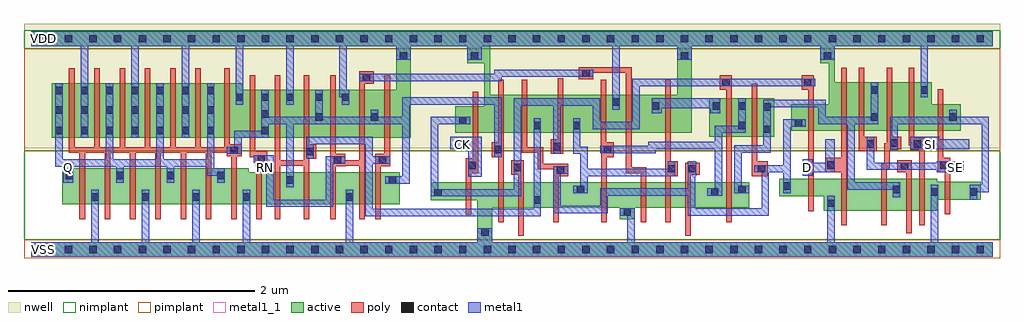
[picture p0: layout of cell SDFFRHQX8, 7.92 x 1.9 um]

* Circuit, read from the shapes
.subckt SDFFRHQX8 CK D Q RN SE SI VDD VSS
M1 VSS n1 Q VSS nfet w=0.295u l=0.045u m=7
M2 n2 RN VSS VSS nfet w=0.26u l=0.045u
M3 n1 n3 n2 VSS nfet w=0.26u l=0.045u
M4 n4 n3 n1 VSS nfet w=0.26u l=0.045u
M5 VSS RN n4 VSS nfet w=0.26u l=0.045u
M6 n5 RN VSS VSS nfet w=0.26u l=0.045u
M7 n1 n3 n5 VSS nfet w=0.26u l=0.045u
M8 VSS CK n6 VSS nfet w=0.145u l=0.045u
M9 n7 n1 VSS VSS nfet w=0.205u l=0.045u
M10 n3 n6 n7 VSS nfet w=0.205u l=0.045u
M11 n8 n9 n3 VSS nfet w=0.205u l=0.045u
M12 VSS n10 n8 VSS nfet w=0.205u l=0.045u
M13 n11 RN VSS VSS nfet w=0.205u l=0.045u
M14 n12 n8 n11 VSS nfet w=0.205u l=0.045u
M15 n10 n9 n12 VSS nfet w=0.205u l=0.045u
M16 n13 n6 n10 VSS nfet w=0.205u l=0.045u
M17 VSS n6 n9 VSS nfet w=0.145u l=0.045u
M18 n14 D VSS VSS nfet w=0.26u l=0.045u
M19 n13 n15 n14 VSS nfet w=0.26u l=0.045u
M20 n16 SE n13 VSS nfet w=0.26u l=0.045u
M21 VSS SI n16 VSS nfet w=0.26u l=0.045u
M22 n15 SE VSS VSS nfet w=0.145u l=0.045u
M23 VDD n1 Q VDD pfet w=0.445u l=0.045u m=7
M24 n1 RN VDD VDD pfet w=0.39u l=0.045u m=3
M25 VDD n3 n1 VDD pfet w=0.39u l=0.045u m=3
M26 VDD CK n6 VDD pfet w=0.215u l=0.045u
M27 n17 n1 VDD VDD pfet w=0.31u l=0.045u
M28 n3 n9 n17 VDD pfet w=0.31u l=0.045u
M29 n8 n6 n3 VDD pfet w=0.31u l=0.045u
M30 VDD n10 n8 VDD pfet w=0.31u l=0.045u
M31 n18 RN VDD VDD pfet w=0.31u l=0.045u
M32 VDD n8 n18 VDD pfet w=0.31u l=0.045u
M33 n10 n6 n18 VDD pfet w=0.31u l=0.045u
M34 n13 n9 n10 VDD pfet w=0.31u l=0.045u
M35 VDD n6 n9 VDD pfet w=0.215u l=0.045u
M36 n19 D VDD VDD pfet w=0.39u l=0.045u
M37 n13 SE n19 VDD pfet w=0.39u l=0.045u
M38 n20 n15 n13 VDD pfet w=0.39u l=0.045u
M39 VDD SI n20 VDD pfet w=0.39u l=0.045u
M40 n15 SE VDD VDD pfet w=0.215u l=0.045u
.ends

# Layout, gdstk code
import gdstk
lib = gdstk.Library(unit=1e-6, precision=5e-10)
def R(c, l, rs):  # rectangles x0, y0, x1, y1
    for r in rs: c.add(gdstk.rectangle(r[:2], r[2:], *l))
def A(c, l, x, y, w, h, nx, ny, dx, dy):  # array of equal rectangles
    R(c, l, [(x+i*dx, y+j*dy, x+i*dx+w, y+j*dy+h) for i in range(nx) for j in range(ny)])
def P(c, l, *ps):  # polygons
    for p in ps: c.add(gdstk.Polygon(p, *l))
active = (1, 0)
nwell = (2, 0)
poly = (3, 0)
nimplant = (4, 0)
pimplant = (5, 0)
contact = (6, 0)
metal1 = (7, 0)
metal1_1 = (7, 1)

sdffrhqx8 = lib.new_cell('SDFFRHQX8')
R(sdffrhqx8, active, [(5.5,0.915,6.03,1.225)])
P(sdffrhqx8, active, [(0,1.77),(7.8,1.77),(7.8,1.65),(6.52,1.65),(6.52,1.355),(7.305,1.355),(7.305,1.18),(7.54,1.18),(7.54,0.965),(6.165,0.965),(6.165,1.18),(6.47,1.18),(6.47,1.51),(6.4,1.51),(6.4,1.65),(5.36,1.65),(5.36,0.945),(3.44,0.945),(3.44,1.16),(3.675,1.16),(3.675,1.51),(3.535,1.51),(3.535,1.65),(3.725,1.65),(3.725,1.255),(5.24,1.255),(5.24,1.65),(3.08,1.65),(3.08,0.905),(0.165,0.905),(0.165,1.35),(1.71,1.35),(1.71,1.295),(2.96,1.295),(2.96,1.65),(0,1.65)],
  [(0.25,0.66),(1.765,0.66),(1.765,0.625),(2.99,0.625),(2.99,0.365),(0.25,0.365)],
  [(3.24,0.545),(5.825,0.545),(5.825,0.34),(4.895,0.34),(4.895,0.245),(4.775,0.245),(4.775,0.34),(3.74,0.34),(3.74,0.06),(7.8,0.06),(7.8,-0.06),(0,-0.06),(0,0.06),(3.62,0.06),(3.62,0.4),(3.24,0.4)],
  [(6.07,0.575),(7.35,0.575),(7.35,0.55),(7.705,0.55),(7.705,0.405),(7.35,0.405),(7.35,0.315),(6.43,0.315),(6.43,0.43),(6.07,0.43)])
R(sdffrhqx8, nwell, [(-0.06,0.82,7.86,1.83)])
P(sdffrhqx8, poly, [(0.305,1.47),(0.35,1.47),(0.35,0.83),(0.51,0.83),(0.51,1.47),(0.555,1.47),(0.555,0.83),(0.715,0.83),(0.715,1.47),(0.76,1.47),(0.76,0.83),(0.92,0.83),(0.92,1.47),(0.965,1.47),(0.965,0.83),(1.125,0.83),(1.125,1.47),(1.17,1.47),(1.17,0.83),(1.33,0.83),(1.33,1.47),(1.375,1.47),(1.375,0.83),(1.565,0.83),(1.565,1.47),(1.61,1.47),(1.61,0.855),(1.705,0.855),(1.705,0.755),(1.665,0.755),(1.665,0.245),(1.62,0.245),(1.62,0.755),(1.585,0.755),(1.585,0.785),(1.46,0.785),(1.46,0.245),(1.415,0.245),(1.415,0.785),(1.255,0.785),(1.255,0.245),(1.21,0.245),(1.21,0.785),(1.05,0.785),(1.05,0.245),(1.005,0.245),(1.005,0.785),(0.845,0.785),(0.845,0.245),(0.8,0.245),(0.8,0.785),(0.64,0.785),(0.64,0.245),(0.595,0.245),(0.595,0.785),(0.435,0.785),(0.435,0.245),(0.39,0.245),(0.39,0.785),(0.305,0.785)],
  [(2.425,1.415),(2.47,1.415),(2.47,0.775),(2.545,0.775),(2.545,0.725),(2.66,0.725),(2.66,1.445),(2.78,1.445),(2.78,1.345),(2.705,1.345),(2.705,0.245),(2.66,0.245),(2.66,0.68),(2.545,0.68),(2.545,0.675),(2.47,0.675),(2.47,0.245),(2.425,0.245)],
  [(1.77,1.415),(1.815,1.415),(1.815,0.795),(1.915,0.795),(1.915,0.675),(1.87,0.675),(1.87,0.245),(1.825,0.245),(1.825,0.675),(1.815,0.675),(1.815,0.75),(1.77,0.75)],
  [(1.975,1.415),(2.02,1.415),(2.02,0.725),(2.21,0.725),(2.21,1.415),(2.255,1.415),(2.255,0.855),(2.31,0.855),(2.31,0.735),(2.255,0.735),(2.255,0.245),(2.21,0.245),(2.21,0.68),(2.02,0.68),(2.02,0.245),(1.975,0.245)],
  [(2.865,1.415),(2.91,1.415),(2.91,0.675),(2.835,0.675),(2.835,0.245),(2.79,0.245),(2.79,0.775),(2.865,0.775)],
  [(4.44,1.48),(4.87,1.48),(4.87,0.665),(4.99,0.665),(4.99,0.22),(4.945,0.22),(4.945,0.62),(4.825,0.62),(4.825,1.435),(4.56,1.435),(4.56,1.38),(4.44,1.38)],
  [(3.58,1.28),(3.625,1.28),(3.625,0.62),(3.57,0.62),(3.57,0.28),(3.525,0.28),(3.525,0.74),(3.58,0.74)],
  [(3.79,1.375),(3.835,1.375),(3.835,0.22),(3.79,0.22),(3.79,0.75),(3.735,0.75),(3.735,0.87),(3.79,0.87)],
  [(3.98,1.375),(4.025,1.375),(4.025,0.83),(4.155,0.83),(4.155,0.695),(4.355,0.695),(4.355,0.595),(4.28,0.595),(4.28,0.22),(4.235,0.22),(4.235,0.65),(4.11,0.65),(4.11,0.785),(3.98,0.785)],
  [(4.27,1.39),(4.315,1.39),(4.315,0.775),(4.215,0.775),(4.215,0.895),(4.27,0.895)],
  [(4.62,1.375),(4.665,1.375),(4.665,0.87),(4.725,0.87),(4.725,0.75),(4.67,0.75),(4.67,0.22),(4.625,0.22),(4.625,0.825),(4.62,0.825)],
  [(5.145,1.375),(5.19,1.375),(5.19,0.715),(5.245,0.715),(5.245,0.595),(5.19,0.595),(5.19,0.22),(5.145,0.22)],
  [(5.585,1.415),(5.685,1.415),(5.685,0.22),(5.64,0.22),(5.64,1.295),(5.585,1.295)],
  [(6.25,1.415),(6.35,1.415),(6.35,0.31),(6.305,0.31),(6.305,1.295),(6.25,1.295)],
  [(5.845,1.345),(5.89,1.345),(5.89,0.715),(5.975,0.715),(5.975,0.595),(5.845,0.595)],
  [(6.57,1.475),(6.615,1.475),(6.615,0.195),(6.57,0.195),(6.57,0.625),(6.44,0.625),(6.44,0.745),(6.57,0.745)],
  [(6.715,1.475),(6.76,1.475),(6.76,0.915),(6.86,0.915),(6.86,0.795),(6.715,0.795)],
  [(6.94,1.475),(6.985,1.475),(6.985,0.915),(7.06,0.915),(7.06,0.815),(6.965,0.815),(6.965,0.65),(6.94,0.65),(6.94,0.195),(6.895,0.195),(6.895,0.695),(6.92,0.695),(6.92,0.86),(6.94,0.86)],
  [(7.12,1.475),(7.165,1.475),(7.165,0.905),(7.25,0.905),(7.25,0.195),(7.205,0.195),(7.205,0.805),(7.13,0.805),(7.13,0.845),(7.12,0.845)],
  [(7.355,1.3),(7.4,1.3),(7.4,0.745),(7.455,0.745),(7.455,0.285),(7.41,0.285),(7.41,0.625),(7.355,0.625)],
  [(3.895,0.725),(3.995,0.725),(3.995,0.11),(3.95,0.11),(3.95,0.605),(3.895,0.605)],
  [(5.305,0.705),(5.425,0.705),(5.425,0.605),(5.35,0.605),(5.35,0.11),(5.305,0.11)],
  [(7.025,0.725),(7.145,0.725),(7.145,0.13),(7.1,0.13),(7.1,0.625),(7.025,0.625)])
R(sdffrhqx8, nimplant, [(-0.06,0.08,7.86,0.8), (-0.06,1.63,7.86,1.78)])
R(sdffrhqx8, pimplant, [(-0.06,-0.07,7.86,0.08), (-0.06,0.8,7.86,1.63)])
A(sdffrhqx8, contact, 0.07, -0.03, 0.06, 0.06, 39, 2, 0.2, 1.71)
A(sdffrhqx8, contact, 0.485, 0.395, 0.06, 0.06, 4, 1, 0.41, 0)
A(sdffrhqx8, contact, 0.28, 0.57, 0.06, 0.06, 4, 1, 0.41, 0)
A(sdffrhqx8, contact, 0.195, 0.935, 0.06, 0.06, 7, 2, 0.205, 0.165)
A(sdffrhqx8, contact, 1.66, 1.205, 0.06, 0.06, 3, 1, 0.205, 0)
A(sdffrhqx8, contact, 0.195, 1.26, 0.06, 0.06, 7, 1, 0.205, 0)
R(sdffrhqx8, contact, [(3.65,0.11,3.71,0.17), (4.805,0.275,4.865,0.335), (6.46,0.345,6.52,0.405), (4.075,0.37,4.135,0.43), (2.55,0.395,2.61,0.455), (3.27,0.43,3.33,0.49), (5.515,0.435,5.575,0.495), (7.3,0.435,7.36,0.495), (7.615,0.435,7.675,0.495), (4.425,0.455,4.485,0.515), (5.735,0.455,5.795,0.515), (6.99,0.455,7.05,0.515), (6.1,0.485,6.16,0.545), (2.07,0.535,2.13,0.595), (2.9,0.535,2.96,0.595), (4.265,0.615,4.325,0.675), (5.165,0.625,5.225,0.685), (5.335,0.625,5.395,0.685), (5.895,0.625,5.955,0.685), (3.915,0.635,3.975,0.695), (7.055,0.645,7.115,0.705), (3.545,0.65,3.605,0.71), (6.46,0.655,6.52,0.715), (7.375,0.655,7.435,0.715), (2.455,0.695,2.515,0.755), (2.82,0.695,2.88,0.755), (1.835,0.705,1.895,0.765), (2.23,0.765,2.29,0.825), (1.615,0.775,1.675,0.835), (3.755,0.78,3.815,0.84), (4.645,0.78,4.705,0.84), (4.235,0.805,4.295,0.865), (6.78,0.825,6.84,0.885), (7.16,0.825,7.22,0.885), (6.97,0.835,7.03,0.895), (1.865,0.935,1.925,0.995), (5.94,0.945,6,1.005), (4.075,0.975,4.135,1.035), (4.395,0.975,4.455,1.035), (5.735,0.975,5.795,1.035), (6.195,0.995,6.255,1.055), (3.47,1.015,3.53,1.075), (2.305,1.045,2.365,1.105), (2.755,1.045,2.815,1.105), (6.81,1.045,6.87,1.105), (7.45,1.045,7.51,1.105), (1.865,1.07,1.925,1.13), (5.94,1.125,6,1.185), (5.035,1.135,5.095,1.195), (5.53,1.135,5.59,1.195), (5.735,1.135,5.795,1.195), (4.715,1.165,4.775,1.225), (2.305,1.205,2.365,1.265), (2.52,1.205,2.58,1.265), (6.81,1.265,6.87,1.325), (7.215,1.265,7.275,1.325), (5.605,1.325,5.665,1.385), (6.27,1.325,6.33,1.385), (2.69,1.365,2.75,1.425), (4.47,1.4,4.53,1.46), (2.99,1.54,3.05,1.6), (3.565,1.54,3.625,1.6), (5.27,1.54,5.33,1.6), (6.43,1.54,6.49,1.6)])
P(sdffrhqx8, metal1, [(0,1.77),(7.8,1.77),(7.8,1.65),(7.275,1.65),(7.275,1.235),(7.215,1.235),(7.215,1.65),(6.52,1.65),(6.52,1.54),(6.4,1.54),(6.4,1.65),(5.36,1.65),(5.36,1.54),(5.24,1.54),(5.24,1.65),(4.775,1.65),(4.775,1.135),(4.715,1.135),(4.715,1.65),(3.655,1.65),(3.655,1.54),(3.535,1.54),(3.535,1.65),(3.08,1.65),(3.08,1.54),(2.96,1.54),(2.96,1.65),(2.56,1.65),(2.56,1.295),(2.58,1.295),(2.58,1.175),(2.52,1.175),(2.52,1.235),(2.5,1.235),(2.5,1.65),(2.13,1.65),(2.13,1.175),(2.07,1.175),(2.07,1.65),(1.72,1.65),(1.72,1.175),(1.66,1.175),(1.66,1.65),(1.28,1.65),(1.28,0.905),(1.22,0.905),(1.22,1.65),(0.87,1.65),(0.87,0.905),(0.81,0.905),(0.81,1.65),(0.46,1.65),(0.46,0.905),(0.4,0.905),(0.4,1.65),(0,1.65)],
  [(0.195,1.35),(0.255,1.35),(0.255,0.73),(0.605,0.73),(0.605,1.35),(0.665,1.35),(0.665,0.73),(1.015,0.73),(1.015,1.35),(1.075,1.35),(1.075,0.73),(1.425,0.73),(1.425,1.35),(1.485,1.35),(1.485,0.66),(1.57,0.66),(1.57,0.54),(1.51,0.54),(1.51,0.6),(1.425,0.6),(1.425,0.67),(1.16,0.67),(1.16,0.54),(1.1,0.54),(1.1,0.67),(0.75,0.67),(0.75,0.54),(0.69,0.54),(0.69,0.67),(0.34,0.67),(0.34,0.54),(0.26,0.54),(0.26,0.67),(0.195,0.67)],
  [(1.865,1.295),(1.925,1.295),(1.925,1.075),(2.305,1.075),(2.305,1.295),(2.365,1.295),(2.365,1.075),(2.755,1.075),(2.755,1.135),(2.815,1.135),(2.815,1.075),(3.01,1.075),(3.01,1.235),(3.815,1.235),(3.815,0.75),(3.755,0.75),(3.755,1.175),(3.07,1.175),(3.07,0.535),(2.87,0.535),(2.87,0.595),(3.01,0.595),(3.01,1.015),(2.13,1.015),(2.13,0.505),(2.07,0.505),(2.07,1.015),(1.925,1.015),(1.925,0.905),(1.705,0.905),(1.705,0.775),(1.585,0.775),(1.585,0.835),(1.645,0.835),(1.645,0.965),(1.865,0.965)],
  [(3.755,1.46),(4.56,1.46),(4.56,1.4),(3.815,1.4),(3.815,1.365),(2.66,1.365),(2.66,1.425),(3.755,1.425)],
  [(4.875,1.385),(6.36,1.385),(6.36,1.325),(4.935,1.325),(4.935,0.975),(4.555,0.975),(4.555,1.165),(4.295,1.165),(4.295,0.775),(4.235,0.775),(4.235,1.165),(3.975,1.165),(3.975,0.43),(3.24,0.43),(3.24,1.075),(3.56,1.075),(3.56,1.015),(3.3,1.015),(3.3,0.49),(3.915,0.49),(3.915,1.225),(4.615,1.225),(4.615,1.035),(4.875,1.035)],
  [(1.805,0.765),(1.965,0.765),(1.965,0.405),(2.39,0.405),(2.39,0.755),(2.545,0.755),(2.545,0.695),(2.45,0.695),(2.45,0.345),(1.905,0.345),(1.905,0.625),(1.835,0.625),(1.835,0.705),(1.805,0.705)],
  [(0.485,0.485),(0.545,0.485),(0.545,0.06),(0.895,0.06),(0.895,0.485),(0.955,0.485),(0.955,0.06),(1.305,0.06),(1.305,0.485),(1.365,0.485),(1.365,0.06),(1.715,0.06),(1.715,0.485),(1.775,0.485),(1.775,0.06),(2.55,0.06),(2.55,0.485),(2.61,0.485),(2.61,0.06),(3.62,0.06),(3.62,0.17),(3.74,0.17),(3.74,0.06),(4.835,0.06),(4.835,0.275),(4.775,0.275),(4.775,0.335),(4.895,0.335),(4.895,0.06),(6.46,0.06),(6.46,0.435),(6.52,0.435),(6.52,0.06),(7.3,0.06),(7.3,0.525),(7.36,0.525),(7.36,0.06),(7.8,0.06),(7.8,-0.06),(0,-0.06),(0,0.06),(0.485,0.06)],
  [(2.23,0.915),(2.77,0.915),(2.77,0.755),(2.91,0.755),(2.91,0.695),(2.77,0.695),(2.77,0.33),(4.075,0.33),(4.075,1.065),(4.135,1.065),(4.135,0.27),(2.71,0.27),(2.71,0.855),(2.29,0.855),(2.29,0.735),(2.23,0.735)],
  [(3.4,0.915),(3.655,0.915),(3.655,0.59),(3.545,0.59),(3.545,0.815),(3.4,0.815)],
  [(4.395,1.065),(4.455,1.065),(4.455,0.835),(4.515,0.835),(4.515,0.655),(5.165,0.655),(5.165,0.715),(5.225,0.715),(5.225,0.595),(4.515,0.595),(4.515,0.455),(4.395,0.455),(4.395,0.515),(4.455,0.515),(4.455,0.775),(4.395,0.775)],
  [(5.94,1.215),(6.445,1.215),(6.445,1.075),(6.81,1.075),(6.81,1.355),(6.87,1.355),(6.87,1.015),(6.68,1.015),(6.68,0.545),(7.05,0.545),(7.05,0.425),(6.99,0.425),(6.99,0.485),(6.62,0.485),(6.62,1.015),(6.385,1.015),(6.385,1.155),(6,1.155),(6,0.785),(5.765,0.785),(5.765,0.515),(5.825,0.515),(5.825,0.455),(5.705,0.455),(5.705,0.845),(5.94,0.845)],
  [(5.035,1.225),(5.59,1.225),(5.59,1.105),(5.51,1.105),(5.51,1.145),(5.115,1.145),(5.115,1.105),(5.035,1.105)],
  [(5.735,1.225),(5.795,1.225),(5.795,0.945),(5.605,0.945),(5.605,0.435),(5.485,0.435),(5.485,0.495),(5.545,0.495),(5.545,0.815),(5.065,0.815),(5.065,0.78),(4.615,0.78),(4.615,0.84),(5.005,0.84),(5.005,0.875),(5.545,0.875),(5.545,1.005),(5.735,1.005)],
  [(6.1,1.055),(6.285,1.055),(6.285,0.995),(6.16,0.995),(6.16,0.455),(6.1,0.455),(6.1,0.625),(5.985,0.625),(5.985,0.275),(5.325,0.275),(5.325,0.435),(4.675,0.435),(4.675,0.295),(4.235,0.295),(4.235,0.675),(4.355,0.675),(4.355,0.615),(4.295,0.615),(4.295,0.355),(4.615,0.355),(4.615,0.495),(5.325,0.495),(5.325,0.715),(5.395,0.715),(5.395,0.595),(5.385,0.595),(5.385,0.335),(5.925,0.335),(5.925,0.625),(5.865,0.625),(5.865,0.685),(6.1,0.685)],
  [(7.45,1.135),(7.51,1.135),(7.51,1.075),(7.77,1.075),(7.77,0.465),(7.675,0.465),(7.675,0.405),(7.615,0.405),(7.615,0.525),(7.71,0.525),(7.71,1.015),(7.03,1.015),(7.03,0.805),(6.97,0.805),(6.97,1.075),(7.45,1.075)],
  [(6.26,0.73),(6.34,0.73),(6.34,0.705),(6.44,0.705),(6.44,0.895),(6.52,0.895),(6.52,0.625),(6.34,0.625),(6.34,0.6),(6.26,0.6)],
  [(6.78,0.915),(6.84,0.915),(6.84,0.705),(7.345,0.705),(7.345,0.715),(7.565,0.715),(7.565,0.625),(7.345,0.625),(7.345,0.645),(6.78,0.645)],
  [(7.13,0.915),(7.365,0.915),(7.365,0.895),(7.61,0.895),(7.61,0.815),(7.13,0.815)])
R(sdffrhqx8, metal1_1, [(0.06,-0.04,0.14,0.04), (0.26,0.625,0.34,0.705), (1.86,0.625,1.94,0.705), (6.26,0.625,6.34,0.705), (7.46,0.625,7.54,0.705), (3.46,0.815,3.54,0.895), (7.26,0.815,7.34,0.895), (0.06,1.67,0.14,1.75)])
sdffrhqx8.add(gdstk.Label('SE', (7.5,0.665), layer=7, texttype=1))
sdffrhqx8.add(gdstk.Label('SI', (7.3,0.855), layer=7, texttype=1))
sdffrhqx8.add(gdstk.Label('D', (6.3,0.665), layer=7, texttype=1))
sdffrhqx8.add(gdstk.Label('CK', (3.5,0.855), layer=7, texttype=1))
sdffrhqx8.add(gdstk.Label('RN', (1.9,0.665), layer=7, texttype=1))
sdffrhqx8.add(gdstk.Label('Q', (0.3,0.665), layer=7, texttype=1))
sdffrhqx8.add(gdstk.Label('VDD', (0.1,1.71), layer=7, texttype=1))
sdffrhqx8.add(gdstk.Label('VSS', (0.1,0), layer=7, texttype=1))
sdffrhqx8.add(gdstk.Label('SDFFRHQX8', (0,0), layer=63, texttype=0))

lib.write_gds('SDFFRHQX8.gds')
